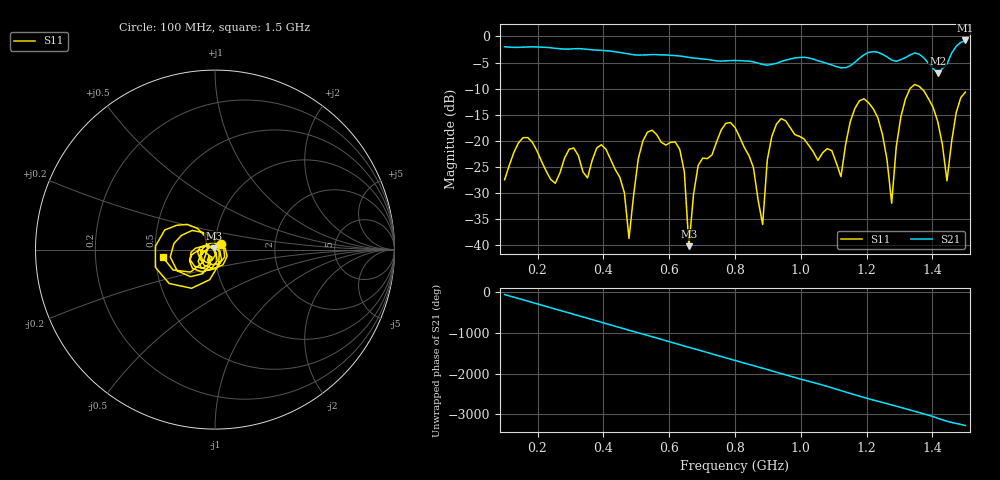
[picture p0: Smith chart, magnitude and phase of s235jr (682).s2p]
! NanoVNA-App
! Date: 2025-09-25 15:09:29
! Start: 100MHz Stop: 1,5GHz Points: 101
! S-Parameter data: F S11 S21 S12 S22
# Hz S RI R 50
!  Frequency  S11_Real  S11_Imag  S21_Real  S21_Imag  S12_Real  S12_Imag  S22_Real  S22_Imag
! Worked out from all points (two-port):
!   101 points, 100 MHz to 1.5 GHz, reference 50 ohm
!   highest |S21| = -0.76 dB at 1.5 GHz (marker M1); lowest = -7.1 dB at 1.416 GHz (marker M2)
!   |S21| within 3 dB of the highest: start of sweep to 634.5 MHz; 1.187 GHz to 1.258 GHz (70.93 MHz wide, 5.8 % of centre) (the widest 2 of 4)
!   lowest |S11| = -40.2 dB at 660 MHz (marker M3), VSWR 1.02, Z = 49.3 + j0.639 ohm
!   |S11| at or under -10 dB: start of sweep to 1.332 GHz; 1.367 GHz to end of sweep
!   S12 and S22 are empty: the file has one direction only
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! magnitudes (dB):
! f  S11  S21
! 100 MHz  -27.5  -2.0
! 156 MHz  -19.4  -2.0
! 338 MHz  -26.0  -2.4
! 408 MHz  -21.6  -2.7
! 478 MHz  -38.7  -3.4
! 520 MHz  -20.0  -3.5
! 576 MHz  -20.3  -3.5
! 632 MHz  -21.6  -3.7
! 660 MHz  -40.2  -4.0
! 688 MHz  -24.7  -4.2
! 800 MHz  -17.4  -4.6
! 884 MHz  -36.1  -5.4
! 926 MHz  -16.8  -5.2
! 1.038 GHz  -22.1  -4.3
! 1.122 GHz  -26.9  -6.0
! 1.192 GHz  -11.9  -3.5
! 1.248 GHz  -18.8  -3.4
! 1.276 GHz  -32.0  -4.5
! 1.332 GHz  -10.0  -3.5
! 1.416 GHz  -16.3  -7.1
! 1.444 GHz  -27.7  -5.3
! 1.5 GHz  -10.7  -0.8
